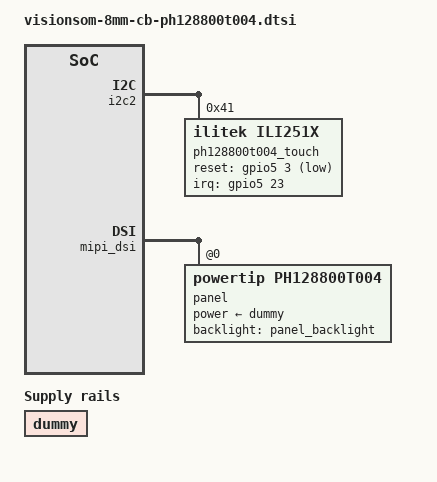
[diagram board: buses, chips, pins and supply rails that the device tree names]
// SPDX-License-Identifier: GPL-2.0-or-later
/*
 * Copyright 2020 SomLabs
 *
 */

/ {
        /* dummy regulator for simple-panel driver */
    dummy: regulator-dummy {
        compatible = "regulator-fixed";
        regulator-name = "dummy";
        regulator-always-on;
    };

};

&i2c2 {

    ph128800t004_touch: ilitek-ili251x@41 {
        compatible = "ilitek,ili251x";
        reg = <0x41>;
        pinctrl-names = "default";
        pinctrl-0 = <&pinctrl_touch>;
        interrupt-parent = <&gpio5>;
        interrupts = <23 IRQ_TYPE_EDGE_FALLING>;
        reset-gpios = <&gpio5 3 GPIO_ACTIVE_LOW>;
        touchscreen-size-x = <16384>;
        touchscreen-size-y = <9600>;
    };

};

&mipi_dsi {
    status = "okay";

    panel@0 {
        pinctrl-names = "default";
        compatible = "powertip,ph128800t004";
        power-supply = <&dummy>;
        reg = <0>;
        backlight = <&panel_backlight>;
        status = "okay";
    };
};
